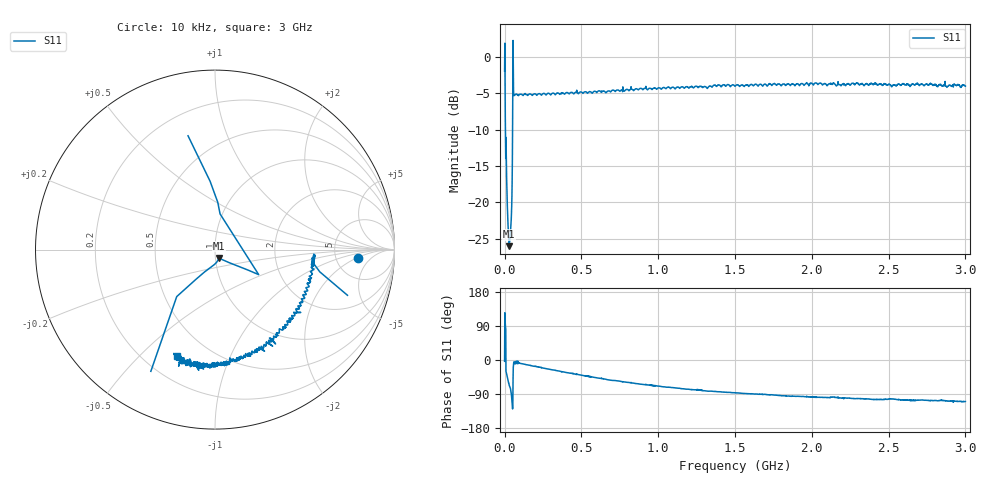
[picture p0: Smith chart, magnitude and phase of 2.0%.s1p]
# HZ S RI R 50
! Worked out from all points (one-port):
!   2020 points, 10 kHz to 3 GHz, reference 50 ohm
!   lowest |S11| = -26.0 dB at 29.73 MHz (marker M1), VSWR 1.11, Z = 51.8 - j4.77 ohm
!   |S11| at or under -10 dB: 5.223 MHz to 51.84 MHz (46.61 MHz wide, 163 % of centre)
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10000  0.7991 -0.0479
7439395  0.0282 0.1988
1.635467e7  0.0786 -0.0726
1.932643e7  0.0564 -0.0632
2.229818e7  0.0414 -0.0565
2.972758e7  0.02 -0.0459
3.418522e7  0.0187 -0.0521
3.715698e7  0.0165 -0.0584
3.864285e7  0.0149 -0.0618
4.012873e7  0.0117 -0.0661
4.161461e7  0.00946 -0.0703
5.795928e7  0.5838 -0.1239
6.39028e7  0.5453 -0.0553
6.836043e7  0.5408 -0.1025
6.984631e7  0.5524 -0.0483
7.133219e7  0.5539 -0.0457
7.430395e7  0.5519 -0.0656
3.759374e8  0.4874 -0.293
7.503789e8  0.3267 -0.4819
9.049103e8  0.2594 -0.5463
1.126306e9  0.1689 -0.5998
1.500748e9  0.0403 -0.6296
1.875189e9  -0.0627 -0.6527
2.251117e9  -0.1192 -0.6302
2.404162e9  -0.1603 -0.6359
2.518575e9  -0.1401 -0.6135
2.625558e9  -0.1743 -0.6285
3e9  -0.2097 -0.5955
